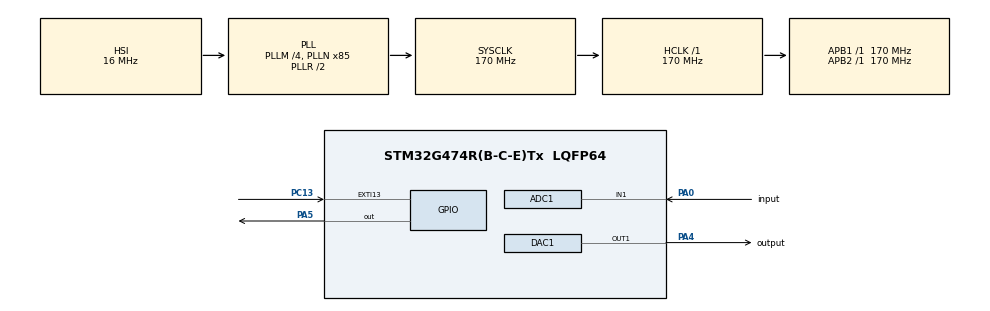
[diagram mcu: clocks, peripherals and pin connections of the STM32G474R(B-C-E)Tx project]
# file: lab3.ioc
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ADC1.Channel-1\#ChannelRegularConversion=ADC_CHANNEL_1
ADC1.ExternalTrigConv=ADC_EXTERNALTRIG_T1_TRGO
ADC1.NbrOfConversionFlag=1
ADC1.OffsetNumber-1\#ChannelRegularConversion=ADC_OFFSET_NONE
ADC1.Rank-1\#ChannelRegularConversion=1
ADC1.SamplingTime-1\#ChannelRegularConversion=ADC_SAMPLETIME_2CYCLES_5
ADC1.master=1
Mcu.Family=STM32G4
Mcu.Name=STM32G474R(B-C-E)Tx
Mcu.Package=LQFP64
NUCLEO-G474RE.BUTTON=1
NUCLEO-G474RE.LD2=true
NUCLEO-G474RE.VCP=true
NVIC.ADC1_2_IRQn=true\:0\:0\:false\:false\:true\:true\:true\:true
NVIC.EXTI15_10_IRQn=true\:0\:0\:false\:false\:true\:true\:true\:true
NVIC.PriorityGroup=NVIC_PRIORITYGROUP_4
PA0.GPIO_Label=input
PA0.Mode=IN1-Single-Ended
PA0.Signal=ADC1_IN1
PA13.GPIO_Label=T_SWDIO
PA13.Signal=SYS_JTMS-SWDIO
PA14.GPIO_Label=T_SWCLK
PA14.Signal=SYS_JTCK-SWCLK
PA2.Signal=LPUART1_TX
PA3.Signal=LPUART1_RX
PA4.GPIO_Label=output
PA4.Signal=COMP_DAC11_group
PA5.Signal=GPIO_Output
PB3.GPIO_Label=T_SWO
PB3.Signal=SYS_JTDO-SWO
PC13.Signal=GPXTI13
PC14-OSC32_IN.GPIO_Label=RCC_OSC32_IN
PC14-OSC32_IN.Signal=RCC_OSC32_IN
PC15-OSC32_OUT.GPIO_Label=RCC_OSC32_OUT
PC15-OSC32_OUT.Signal=RCC_OSC32_OUT
PF0-OSC_IN.GPIO_Label=RCC_OSC_IN
PF0-OSC_IN.Signal=RCC_OSC_IN
PF1-OSC_OUT.GPIO_Label=RCC_OSC_OUT
PF1-OSC_OUT.Signal=RCC_OSC_OUT
ProjectManager.HeapSize=0x200
ProjectManager.StackSize=0x400
ProjectManager.TargetToolchain=STM32CubeIDE
RCC.ADC12Freq_Value=170000000
RCC.ADC345Freq_Value=170000000
RCC.AHBFreq_Value=170000000
RCC.APB1Freq_Value=170000000
RCC.APB1TimFreq_Value=170000000
RCC.APB2Freq_Value=170000000
RCC.APB2TimFreq_Value=170000000
RCC.CortexFreq_Value=170000000
RCC.EXTERNAL_CLOCK_VALUE=12288000
RCC.HCLKFreq_Value=170000000
RCC.HSE_VALUE=24000000
RCC.HSI48_VALUE=48000000
RCC.HSI_VALUE=16000000
RCC.LSE_VALUE=32768
RCC.PLLM=RCC_PLLM_DIV4
RCC.PLLN=85
RCC.RTCClockSelection=RCC_RTCCLKSOURCE_LSE
RCC.SYSCLKFreq_VALUE=170000000
RCC.SYSCLKSource=RCC_SYSCLKSOURCE_PLLCLK
RCC.USBFreq_Value=170000000
RCC.VCOOutputFreq_Value=340000000
SH.COMP_DAC11_group.0=DAC1_OUT1,DAC_OUT1
TIM1.PeriodNoDither=100-1
TIM1.Prescaler=170-1
TIM1.TIM_MasterOutputTrigger=TIM_TRGO_UPDATE
VP_NUCLEO-G474RE_VS_BSP_COMMON.Mode=COMMON
VP_SYS_VS_DBSignals.Mode=DisableDeadBatterySignals
VP_TIM1_VS_ClockSourceINT.Mode=Internal
board=NUCLEO-G474RE

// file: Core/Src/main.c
/* USER CODE BEGIN Header */
/**
  ******************************************************************************
  * @file           : main.c
  * @brief          : Main program body
  ******************************************************************************
  * @attention
  *
  * Copyright (c) 2025 STMicroelectronics.
  * All rights reserved.
  *
  * This software is licensed under terms that can be found in the LICENSE file
  * in the root directory of this software component.
  * If no LICENSE file comes with this software, it is provided AS-IS.
  *
  ******************************************************************************
  */
/* USER CODE END Header */
#include "main.h"

/* USER CODE BEGIN Includes */
#include "lpf_c_caller.h"
#include "hpf_c_caller.h"
#include "apf_c_caller.h"
#include "bpf_c_caller.h"
#include "bsf_c_caller.h"

/* USER CODE END Includes */

/* USER CODE BEGIN PTD */
typedef enum {
  FILTER_LPF = 0,
  FILTER_HPF,
  FILTER_APF,
  FILTER_BPF,
  FILTER_BSF
} filter_t;

/* USER CODE END PTD */

/* USER CODE BEGIN PD */
#define ADC_MID_VALUE   2048.0   // mid-scale for 12-bit ADC
#define ADC_SCALE       2047.0   // so +/-1 maps to almost full scale

/* USER CODE END PD */

COM_InitTypeDef BspCOMInit;
ADC_HandleTypeDef hadc1;

DAC_HandleTypeDef hdac1;

TIM_HandleTypeDef htim1;

/* USER CODE BEGIN PV */
volatile filter_t current_filter = FILTER_BPF;   // choose filter

/* USER CODE END PV */

void SystemClock_Config(void);
static void MX_GPIO_Init(void);
static void MX_TIM1_Init(void);
static void MX_ADC1_Init(void);
static void MX_DAC1_Init(void);

int main(void)
{

  /* MCU Configuration--------------------------------------------------------*/

  /* Reset of all peripherals, Initializes the Flash interface and the Systick. */
  HAL_Init();

  /* Configure the system clock */
  SystemClock_Config();

  /* Initialize all configured peripherals */
  MX_GPIO_Init();
  MX_TIM1_Init();
  MX_ADC1_Init();
  MX_DAC1_Init();
  /* USER CODE BEGIN 2 */

  // Reset internal states of all filters (clean start)
    lpf_reset();
    hpf_reset();
    apf_reset();
    bpf_reset();
    bsf_reset();

    // Start DAC output on PA4 (DAC1_CH1)
    if (HAL_DAC_Start(&hdac1, DAC_CHANNEL_1) != HAL_OK)
    {
      Error_Handler();
    }

    // Start ADC with interrupt, conversions triggered by TIM1 TRGO
    if (HAL_ADC_Start_IT(&hadc1) != HAL_OK)
    {
      Error_Handler();
    }

    // Start TIM1 base counter (10 kHz update rate)
    if (HAL_TIM_Base_Start(&htim1) != HAL_OK)
    {
      Error_Handler();
    }

  /* USER CODE END 2 */

  /* Initialize led */
  BSP_LED_Init(LED_GREEN);

  /* Initialize USER push-button, will be used to trigger an interrupt each time it's pressed.*/
  BSP_PB_Init(BUTTON_USER, BUTTON_MODE_EXTI);

  /* Initialize COM1 port (115200, 8 bits (7-bit data + 1 stop bit), no parity */
  BspCOMInit.BaudRate   = 115200;
  BspCOMInit.WordLength = COM_WORDLENGTH_8B;
  BspCOMInit.StopBits   = COM_STOPBITS_1;
  BspCOMInit.Parity     = COM_PARITY_NONE;
  BspCOMInit.HwFlowCtl  = COM_HWCONTROL_NONE;
  if (BSP_COM_Init(COM1, &BspCOMInit) != BSP_ERROR_NONE)
  {
    Error_Handler();
  }

  /* Infinite loop */
  while (1)
  {

  }
}

void SystemClock_Config(void)
{
  RCC_OscInitTypeDef RCC_OscInitStruct = {0};
  RCC_ClkInitTypeDef RCC_ClkInitStruct = {0};

  /** Configure the main internal regulator output voltage
  */
  HAL_PWREx_ControlVoltageScaling(PWR_REGULATOR_VOLTAGE_SCALE1_BOOST);

  /** Initializes the RCC Oscillators according to the specified parameters
  * in the RCC_OscInitTypeDef structure.
  */
  RCC_OscInitStruct.OscillatorType = RCC_OSCILLATORTYPE_HSI;
  RCC_OscInitStruct.HSIState = RCC_HSI_ON;
  RCC_OscInitStruct.HSICalibrationValue = RCC_HSICALIBRATION_DEFAULT;
  RCC_OscInitStruct.PLL.PLLState = RCC_PLL_ON;
  RCC_OscInitStruct.PLL.PLLSource = RCC_PLLSOURCE_HSI;
  RCC_OscInitStruct.PLL.PLLM = RCC_PLLM_DIV4;
  RCC_OscInitStruct.PLL.PLLN = 85;
  RCC_OscInitStruct.PLL.PLLP = RCC_PLLP_DIV2;
  RCC_OscInitStruct.PLL.PLLQ = RCC_PLLQ_DIV2;
  RCC_OscInitStruct.PLL.PLLR = RCC_PLLR_DIV2;
  if (HAL_RCC_OscConfig(&RCC_OscInitStruct) != HAL_OK)
  {
    Error_Handler();
  }

  /** Initializes the CPU, AHB and APB buses clocks
  */
  RCC_ClkInitStruct.ClockType = RCC_CLOCKTYPE_HCLK|RCC_CLOCKTYPE_SYSCLK
                              |RCC_CLOCKTYPE_PCLK1|RCC_CLOCKTYPE_PCLK2;
  RCC_ClkInitStruct.SYSCLKSource = RCC_SYSCLKSOURCE_PLLCLK;
  RCC_ClkInitStruct.AHBCLKDivider = RCC_SYSCLK_DIV1;
  RCC_ClkInitStruct.APB1CLKDivider = RCC_HCLK_DIV1;
  RCC_ClkInitStruct.APB2CLKDivider = RCC_HCLK_DIV1;

  if (HAL_RCC_ClockConfig(&RCC_ClkInitStruct, FLASH_LATENCY_4) != HAL_OK)
  {
    Error_Handler();
  }
}

static void MX_ADC1_Init(void)
{

  ADC_MultiModeTypeDef multimode = {0};
  ADC_ChannelConfTypeDef sConfig = {0};

  /** Common config
  */
  hadc1.Instance = ADC1;
  hadc1.Init.ClockPrescaler = ADC_CLOCK_SYNC_PCLK_DIV4;
  hadc1.Init.Resolution = ADC_RESOLUTION_12B;
  hadc1.Init.DataAlign = ADC_DATAALIGN_RIGHT;
  hadc1.Init.GainCompensation = 0;
  hadc1.Init.ScanConvMode = ADC_SCAN_DISABLE;
  hadc1.Init.EOCSelection = ADC_EOC_SINGLE_CONV;
  hadc1.Init.LowPowerAutoWait = DISABLE;
  hadc1.Init.ContinuousConvMode = DISABLE;
  hadc1.Init.NbrOfConversion = 1;
  hadc1.Init.DiscontinuousConvMode = DISABLE;
  hadc1.Init.ExternalTrigConv = ADC_EXTERNALTRIG_T1_TRGO;
  hadc1.Init.ExternalTrigConvEdge = ADC_EXTERNALTRIGCONVEDGE_RISING;
  hadc1.Init.DMAContinuousRequests = DISABLE;
  hadc1.Init.Overrun = ADC_OVR_DATA_PRESERVED;
  hadc1.Init.OversamplingMode = DISABLE;
  if (HAL_ADC_Init(&hadc1) != HAL_OK)
  {
    Error_Handler();
  }

  /** Configure the ADC multi-mode
  */
  multimode.Mode = ADC_MODE_INDEPENDENT;
  if (HAL_ADCEx_MultiModeConfigChannel(&hadc1, &multimode) != HAL_OK)
  {
    Error_Handler();
  }

  /** Configure Regular Channel
  */
  sConfig.Channel = ADC_CHANNEL_1;
  sConfig.Rank = ADC_REGULAR_RANK_1;
  sConfig.SamplingTime = ADC_SAMPLETIME_2CYCLES_5;
  sConfig.SingleDiff = ADC_SINGLE_ENDED;
  sConfig.OffsetNumber = ADC_OFFSET_NONE;
  sConfig.Offset = 0;
  if (HAL_ADC_ConfigChannel(&hadc1, &sConfig) != HAL_OK)
  {
    Error_Handler();
  }

}

static void MX_DAC1_Init(void)
{

  DAC_ChannelConfTypeDef sConfig = {0};

  /** DAC Initialization
  */
  hdac1.Instance = DAC1;
  if (HAL_DAC_Init(&hdac1) != HAL_OK)
  {
    Error_Handler();
  }

  /** DAC channel OUT1 config
  */
  sConfig.DAC_HighFrequency = DAC_HIGH_FREQUENCY_INTERFACE_MODE_AUTOMATIC;
  sConfig.DAC_DMADoubleDataMode = DISABLE;
  sConfig.DAC_SignedFormat = DISABLE;
  sConfig.DAC_SampleAndHold = DAC_SAMPLEANDHOLD_DISABLE;
  sConfig.DAC_Trigger = DAC_TRIGGER_NONE;
  sConfig.DAC_Trigger2 = DAC_TRIGGER_NONE;
  sConfig.DAC_OutputBuffer = DAC_OUTPUTBUFFER_ENABLE;
  sConfig.DAC_ConnectOnChipPeripheral = DAC_CHIPCONNECT_EXTERNAL;
  sConfig.DAC_UserTrimming = DAC_TRIMMING_FACTORY;
  if (HAL_DAC_ConfigChannel(&hdac1, &sConfig, DAC_CHANNEL_1) != HAL_OK)
  {
    Error_Handler();
  }

}

static void MX_TIM1_Init(void)
{

  TIM_ClockConfigTypeDef sClockSourceConfig = {0};
  TIM_MasterConfigTypeDef sMasterConfig = {0};

  htim1.Instance = TIM1;
  htim1.Init.Prescaler = 170-1;
  htim1.Init.CounterMode = TIM_COUNTERMODE_UP;
  htim1.Init.Period = 99;
  htim1.Init.ClockDivision = TIM_CLOCKDIVISION_DIV1;
  htim1.Init.RepetitionCounter = 0;
  htim1.Init.AutoReloadPreload = TIM_AUTORELOAD_PRELOAD_DISABLE;
  if (HAL_TIM_Base_Init(&htim1) != HAL_OK)
  {
    Error_Handler();
  }
  sClockSourceConfig.ClockSource = TIM_CLOCKSOURCE_INTERNAL;
  if (HAL_TIM_ConfigClockSource(&htim1, &sClockSourceConfig) != HAL_OK)
  {
    Error_Handler();
  }
  sMasterConfig.MasterOutputTrigger = TIM_TRGO_UPDATE;
  sMasterConfig.MasterOutputTrigger2 = TIM_TRGO2_RESET;
  sMasterConfig.MasterSlaveMode = TIM_MASTERSLAVEMODE_DISABLE;
  if (HAL_TIMEx_MasterConfigSynchronization(&htim1, &sMasterConfig) != HAL_OK)
  {
    Error_Handler();
  }

}

static void MX_GPIO_Init(void)
{

  /* GPIO Ports Clock Enable */
  __HAL_RCC_GPIOC_CLK_ENABLE();
  __HAL_RCC_GPIOF_CLK_ENABLE();
  __HAL_RCC_GPIOA_CLK_ENABLE();
  __HAL_RCC_GPIOB_CLK_ENABLE();

}

/* USER CODE BEGIN 4 */

/* This callback is called every time ADC finishes a conversion (10 kHz) */
void HAL_ADC_ConvCpltCallback(ADC_HandleTypeDef *hadc)
{
  if (hadc->Instance == ADC1)
  {
    /* 1) Read raw ADC value (0..4095) */
    uint32_t raw = HAL_ADC_GetValue(&hadc1);

    /* 2) Normalize to -1.0 .. +1.0 */
    double x = ((double)raw) / 4095 * 3.3 - 1;

    /* 3) Filter processing */
    double y = 0.0;

    switch (current_filter)
    {
      case FILTER_LPF:
        y = lpf_step(x) + 1;
        break;
      case FILTER_HPF:
        y = hpf_step(x) + 1;
        break;
      case FILTER_APF:
        y = apf_step(x) + 1;
        break;
      case FILTER_BPF:
        y = bpf_step(x) + 1;
        break;
      case FILTER_BSF:
        y = bsf_step(x) + 1;
        break;
      default:
        y = x;  // fall-back: bypass
        break;
    }

    /* 4) Saturate to [-1, 1] */
    if (y > 3.3)  y = 3.3;
    if (y < 0) y = 0;

    /* 5) Map back to DAC range 0..4095 */
    uint32_t dac_val = (uint32_t)(4095 / 3.3 * y);
    if (dac_val > 4095) dac_val = 4095;

    /* 6) Output to DAC channel 1 (PA4 = "output") */
    HAL_DAC_SetValue(&hdac1, DAC_CHANNEL_1, DAC_ALIGN_12B_R, dac_val);
  }
}

/* USER CODE END 4 */

void Error_Handler(void)
{
  __disable_irq();
  while (1)
  {
  }
}
